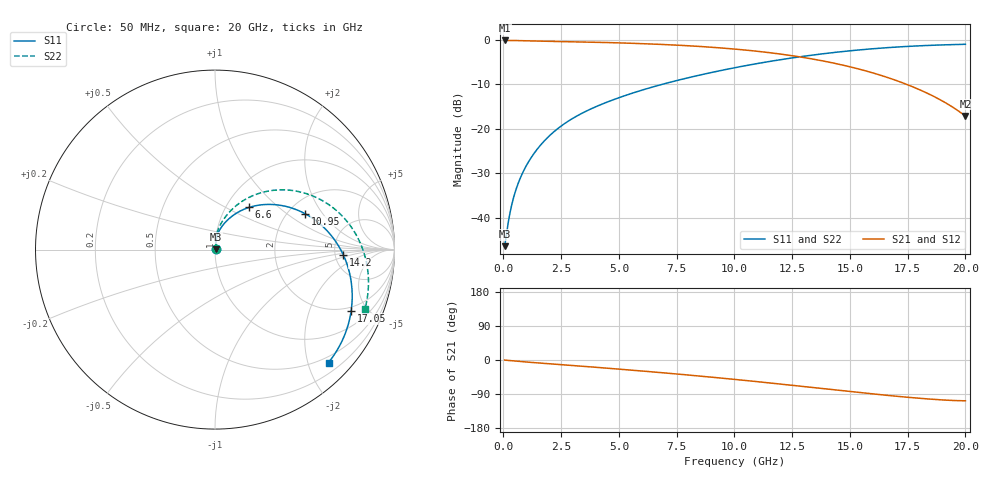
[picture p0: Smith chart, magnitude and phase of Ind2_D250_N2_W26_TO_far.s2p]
#  Hz  S  RI  R  50
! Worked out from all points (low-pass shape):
!   400 points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, 50 MHz to 20 GHz, reference 50 ohm
!   highest |S21| = -0.13 dB at 50 MHz (marker M1); lowest = -17.1 dB at 20 GHz (marker M2)
!   |S21| within 3 dB of the highest: start of sweep to 11.91 GHz
!   lowest |S11| = -46.4 dB at 50 MHz (marker M3), VSWR 1.01, Z = 50.4 + j0.186 ohm
!   |S11| at or under -10 dB: start of sweep to 6.865 GHz
!   |S22| runs from -46.8 to -0.9 dB; largest |S21 - S12| = 0.00061
!   S11 on the Smith chart (normalised r, x): 50 MHz: 1.01, +0.00; 6.6 GHz: 1.28, +0.66; 10.95 GHz: 2.46, +1.39; 14.2 GHz: 5.95, -0.78; 17.05 GHz: 1.77, -3.91; 20 GHz: 0.38, -2.37
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5e7  0.00444 0.00184  0.9854 -0.00475  0.9852 -0.00473  0.0042 0.00186
2.5e8  0.00443 0.00924  0.9845 -0.0237  0.9844 -0.0236  0.00411 0.00935
4.5e8  0.00444 0.0168  0.9826 -0.0423  0.9825 -0.0422  0.00394 0.017
7e8  0.00458 0.0265  0.9789 -0.065  0.9789 -0.0649  0.00371 0.0268
1.05e9  0.00533 0.0408  0.9718 -0.0952  0.9719 -0.095  0.00368 0.0415
1.5e9  0.008 0.0603  0.9608 -0.131  0.9609 -0.131  0.00494 0.0616
2.05e9  0.0149 0.0851  0.9466 -0.1715  0.9467 -0.1716  0.00958 0.0875
2.65e9  0.0272 0.1115  0.9308 -0.2139  0.9308 -0.214  0.0189 0.1156
3.4e9  0.0484 0.1417  0.909 -0.267  0.9089 -0.2671  0.0356 0.1488
4.8e9  0.1 0.1898  0.8545 -0.3644  0.8545 -0.3644  0.0769 0.2051
6.6e9  0.1904 0.2353  0.7578 -0.4757  0.7577 -0.4758  0.1512 0.2691
6.7e9  0.1963 0.2371  0.7516 -0.4813  0.7515 -0.4814  0.1561 0.2722
8.45e9  0.3105 0.2517  0.6272 -0.567  0.627 -0.5671  0.2557 0.3164
1.005e10  0.4309 0.2305  0.4909 -0.6151  0.4906 -0.615  0.3682 0.3331
1.095e10  0.5015 0.2001  0.4077 -0.6256  0.4074 -0.6255  0.4389 0.3283
1.335e10  0.6716 0.0465  0.1854 -0.5828  0.1851 -0.5824  0.6338 0.2507
1.42e10  0.7158 -0.0317  0.116 -0.5427  0.1158 -0.5422  0.6971 0.199
1.545e10  0.7562 -0.1624  0.0317 -0.4648  0.0318 -0.4643  0.775 0.102
1.67e10  0.7629 -0.3017  -0.025 -0.3718  -0.0249 -0.3713  0.8282 -0.0128
1.705e10  0.7587 -0.3407  -0.0355 -0.3446  -0.0354 -0.3441  0.8381 -0.047
1.87e10  0.7054 -0.5142  -0.0556 -0.2199  -0.0552 -0.2196  0.8545 -0.2111
2e10  0.6325 -0.6295  -0.0423 -0.1328  -0.0423 -0.1329  0.8349 -0.3337
